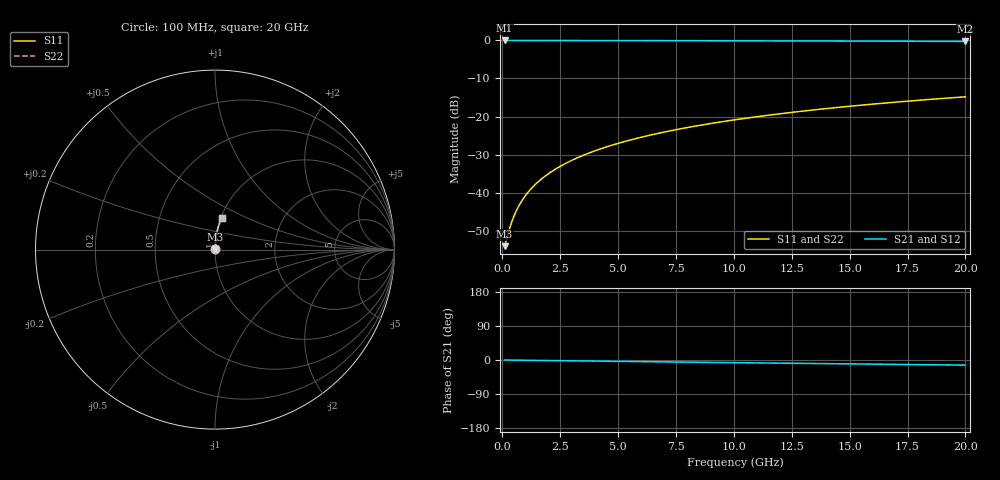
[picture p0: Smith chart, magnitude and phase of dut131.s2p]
! Touchstone file exported from HFSS 2024.1.0
!  File:  C:/UserFiles/LocalFiles/RDL_TSV_Batchsim/temp_RDL_top_131_1778684382.aedt
!  Generated:  11:02:02 PM May 13, 2026
!  Design:  RDL_top
!  Project:  temp_RDL_top_131_1778684382
!  Setup:  Setup1
!  Solution:  Sweep
! Variables:
!  dtsv = 10.80580581um
!  hbump = 3um
!  htsv = 64.48um
!  ldown = 100um
!  lrdl = 128.8um
!  p = 40
!  p1 = 47.2um
!  rhole = 1um
!  t = 450um
!  tdown = 3.915915916um
!  trdl = 2.26um
!  wdown = 15.38538539um
!  wrdl = 13.84um
# GHz S MA R 50.000000
! Terminal data exported
! Port[1] = Box2_T1
! Port[2] = Box2_T2
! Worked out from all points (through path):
!   200 points, 100 MHz to 20 GHz, reference 50 ohm
!   highest |S21| = -0.02 dB at 100 MHz (marker M1); lowest = -0.3 dB at 20 GHz (marker M2)
!   group delay of S21, straight-line fit = 1.87 ps
!   lowest |S11| = -54.0 dB at 100 MHz (marker M3), VSWR 1.00, Z = 50.2 + j0.0922 ohm
!   |S11| at or under -10 dB: start of sweep to end of sweep
!   |S22| runs from -54.0 to -14.8 dB; largest |S21 - S12| = 2.6e-15
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0.1  0.00199 27.5  0.9982 -0.1  0.9982 -0.1  0.00199 27.5
! Gamma 0 0 0 0
! Port Impedance 50 0 50 0
0.3  0.003285 56.7  0.9982 -0.2  0.9982 -0.2  0.003285 56.7
0.4  0.004083 63.3  0.9982 -0.3  0.9982 -0.3  0.004083 63.3
0.5  0.004913 67.7  0.9981 -0.4  0.9981 -0.4  0.004913 67.7
0.6  0.005757 70.8  0.9981 -0.4  0.9981 -0.4  0.005757 70.8
0.7  0.006609 73.0  0.998 -0.5  0.998 -0.5  0.006609 73.0
0.9  0.008321 76.2  0.9979 -0.7  0.9979 -0.7  0.008321 76.2
1.2  0.0109 79.1  0.9978 -0.9  0.9978 -0.9  0.0109 79.1
1.4  0.01263 80.3  0.9977 -1.0  0.9977 -1.0  0.01263 80.3
1.7  0.01523 81.7  0.9976 -1.2  0.9976 -1.2  0.01523 81.7
2.2  0.01959 83.2  0.9973 -1.6  0.9973 -1.6  0.01959 83.2
2.8  0.02486 84.3  0.9969 -2.0  0.9969 -2.0  0.02486 84.3
3.5  0.03106 85.0  0.9964 -2.5  0.9964 -2.5  0.03106 85.0
4.2  0.03731 85.4  0.9958 -3.0  0.9958 -3.0  0.03731 85.4
5  0.0445 85.5  0.9949 -3.6  0.9949 -3.6  0.0445 85.5
5.9  0.05265 85.5  0.9939 -4.2  0.9939 -4.2  0.05265 85.5
6.8  0.06087 85.4  0.9928 -4.8  0.9928 -4.8  0.06087 85.4
8.3  0.07466 84.9  0.9908 -5.9  0.9908 -5.9  0.07466 84.9
10.1  0.09132 84.0  0.9881 -7.1  0.9881 -7.1  0.09132 84.0
13.4  0.1219 82.1  0.9827 -9.3  0.9827 -9.3  0.1219 82.1
16.7  0.1521 80.0  0.9768 -11.4  0.9768 -11.4  0.1521 80.0
20  0.1819 77.9  0.9703 -13.5  0.9703 -13.5  0.1819 77.9
